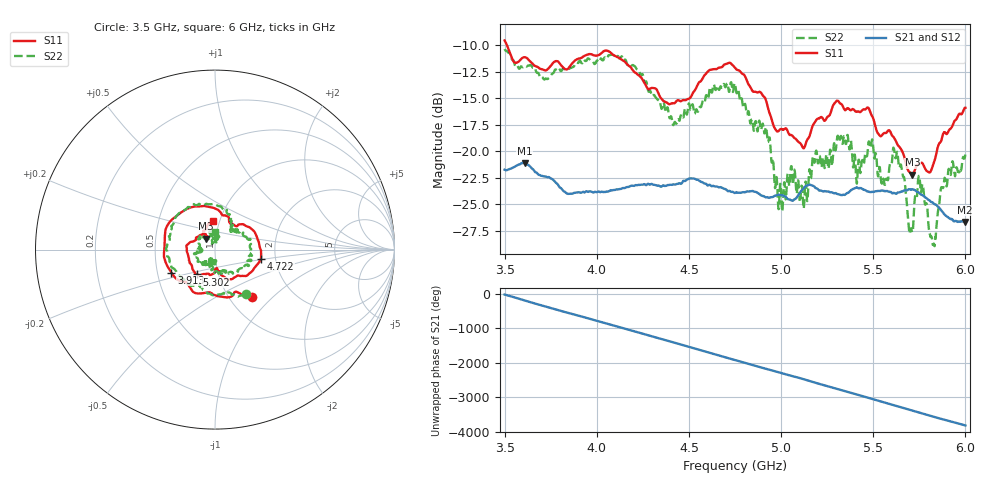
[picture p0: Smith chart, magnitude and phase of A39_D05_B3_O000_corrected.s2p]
! Created with skrf 1.9.0 (http://scikit-rf.org).
# Hz S RI R 50.0
!freq ReS11 ImS11 ReS21 ImS21 ReS12 ImS12 ReS22 ImS22
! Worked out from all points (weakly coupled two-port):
!   1601 points, 3.5 GHz to 6 GHz, reference 50 ohm
!   highest |S21| = -21.10 dB at 3.609 GHz (marker M1); lowest = -26.7 dB at 5.997 GHz (marker M2)
!   lowest |S11| = -22.2 dB at 5.713 GHz (marker M3), VSWR 1.17, Z = 45 + j5.47 ohm
!   |S11| at or under -10 dB: 3.512 GHz to end of sweep
!   |S22| runs from -28.9 to -10.4 dB; largest |S21 - S12| = 0.00094
!   S11 on the Smith chart (normalised r, x): 3.5 GHz: 1.27, -0.75; 3.913 GHz: 0.59, -0.16; 4.722 GHz: 1.68, -0.18; 5.302 GHz: 0.79, -0.22; 6 GHz: 0.93, +0.31
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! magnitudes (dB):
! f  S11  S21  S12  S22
! 3.5 GHz  -9.6  -21.7  -21.7  -10.4
! 3.609 GHz  -11.1  -21.1  -21.1  -11.9
! 3.913 GHz  -11.2  -23.9  -23.9  -11.6
! 3.917 GHz  -11.2  -23.9  -23.9  -11.7
! 4.144 GHz  -11.5  -23.5  -23.5  -11.4
! 4.334 GHz  -14.5  -23.2  -23.2  -15.2
! 4.423 GHz  -15.5  -23.1  -23.1  -17.2
! 4.722 GHz  -11.7  -23.8  -23.7  -14.1
! 4.75 GHz  -12.1  -23.9  -23.9  -13.7
! 4.928 GHz  -15.9  -24.3  -24.3  -19.1
! 4.995 GHz  -17.9  -24.1  -24.1  -23.1
! 5.131 GHz  -19.4  -23.3  -23.3  -23.0
! 5.167 GHz  -17.8  -23.2  -23.2  -21.5
! 5.302 GHz  -15.3  -24.0  -24.0  -19.1
! 5.584 GHz  -18.0  -23.8  -23.8  -22.1
! 5.622 GHz  -19.0  -24.0  -24.0  -20.7
! 5.713 GHz  -22.2  -23.6  -23.5  -27.6
! 5.756 GHz  -21.1  -24.1  -24.0  -23.5
! 5.828 GHz  -21.1  -24.9  -24.9  -28.7
! 5.878 GHz  -18.4  -25.8  -25.7  -23.5
! 5.997 GHz  -15.9  -26.7  -26.6  -20.6
! 6 GHz  -15.9  -26.7  -26.6  -20.2
